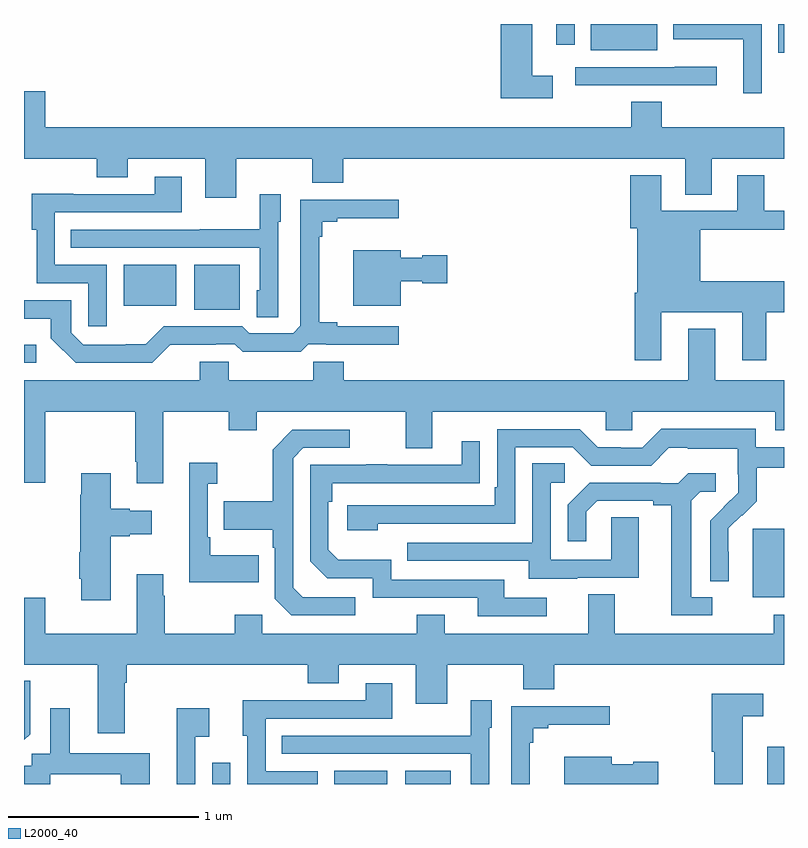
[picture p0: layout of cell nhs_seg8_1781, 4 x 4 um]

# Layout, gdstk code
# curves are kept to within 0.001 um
import gdstk
lib = gdstk.Library(unit=1e-6, precision=1e-09)
def R(c, l, rs):  # rectangles x0, y0, x1, y1
    for r in rs: c.add(gdstk.rectangle(r[:2], r[2:], *l))
def P(c, l, *ps):  # polygons
    for p in ps: c.add(gdstk.Polygon(p, *l))
L2000_40 = (2000, 40)

nhs_seg8_1781 = lib.new_cell('nhs_seg8_1781')
R(nhs_seg8_1781, L2000_40, [(225.99,1087.9,226.086,1088.011), (226.634,1087.9,226.912,1087.969), (227.006,1087.9,227.245,1087.969), (228.912,1087.9,229,1088.095), (228.836,1088.882,229,1089.243), (225,1090.116,225.064,1090.213), (225.896,1090.397,226.135,1090.633), (225.524,1090.418,225.802,1090.633), (228.971,1091.75,229,1091.9), (227.983,1091.762,228.333,1091.9), (227.802,1091.79,227.898,1091.9)])
P(nhs_seg8_1781, L2000_40, [(228.882,1091.9),(228.418,1091.9),(228.418,1091.819),(228.785,1091.819),(228.785,1091.535),(228.882,1091.535)],
  [(227.782,1091.627),(227.674,1091.627),(227.674,1091.9),(227.51,1091.9),(227.51,1091.51),(227.782,1091.51)],
  [(228.646,1091.674),(228.426,1091.674),(228.426,1091.673),(227.901,1091.673),(227.901,1091.577),(228.646,1091.577)],
  [(226.117,1091.192),(226.517,1091.192),(226.517,1091.064),(226.681,1091.064),(226.681,1091.192),(228.479,1091.192),(228.479,1091.002),(228.619,1091.002),(228.619,1091.192),(229,1091.192),(229,1091.356),(228.356,1091.356),(228.356,1091.492),(228.196,1091.492),(228.196,1091.356),(225.112,1091.356),(225.112,1091.545),(225,1091.545),(225,1091.192),(225.383,1091.192),(225.383,1091.093),(225.547,1091.093),(225.547,1091.192),(225.953,1091.192),(225.953,1090.986),(226.117,1090.986)],
  [(228.355,1090.382),(228.779,1090.382),(228.779,1090.131),(228.907,1090.131),(228.907,1090.382),(229,1090.382),(229,1090.546),(228.559,1090.546),(228.559,1090.816),(229,1090.816),(229,1090.917),(228.895,1090.917),(228.895,1091.104),(228.755,1091.104),(228.755,1090.917),(228.355,1090.917),(228.355,1091.104),(228.191,1091.104),(228.191,1090.824),(228.227,1090.824),(228.227,1090.486),(228.215,1090.486),(228.215,1090.131),(228.355,1090.131)],
  [(225.435,1090.632),(225.162,1090.632),(225.162,1090.908),(225.829,1090.908),(225.829,1091.095),(225.689,1091.095),(225.689,1091.004),(225.259,1091.004),(225.259,1091.006),(225.041,1091.006),(225.041,1090.818),(225.066,1090.818),(225.066,1090.536),(225.339,1090.536),(225.339,1090.308),(225.435,1090.308)],
  [(226.338,1090.86),(226.351,1090.86),(226.351,1091.005),(226.242,1091.005),(226.242,1090.819),(225.925,1090.819),(225.925,1090.818),(225.247,1090.818),(225.247,1090.722),(226.242,1090.722),(226.242,1090.5),(226.226,1090.5),(226.226,1090.357),(226.338,1090.357)],
  [(225.77,1090.211),(226.01,1090.211),(226.01,1090.215),(226.11,1090.215),(226.15,1090.176),(226.457,1090.176),(226.497,1090.215),(226.591,1090.215),(226.591,1090.211),(226.972,1090.211),(226.972,1090.308),(226.648,1090.308),(226.648,1090.331),(226.553,1090.331),(226.553,1090.781),(226.571,1090.781),(226.571,1090.858),(226.648,1090.858),(226.648,1090.877),(226.972,1090.877),(226.972,1090.974),(226.455,1090.974),(226.455,1090.311),(226.416,1090.272),(226.185,1090.272),(226.149,1090.308),(225.735,1090.308),(225.641,1090.214),(225.536,1090.214),(225.536,1090.212),(225.312,1090.212),(225.249,1090.275),(225.249,1090.446),(225,1090.446),(225,1090.349),(225.142,1090.349),(225.142,1090.247),(225.272,1090.116),(225.675,1090.116)],
  [(226.984,1090.547),(227.097,1090.547),(227.097,1090.535),(227.227,1090.535),(227.227,1090.682),(227.097,1090.682),(227.097,1090.669),(226.984,1090.669),(226.984,1090.708),(226.733,1090.708),(226.733,1090.418),(226.984,1090.418)],
  [(225.733,1089.86),(226.078,1089.86),(226.078,1089.761),(226.225,1089.761),(226.225,1089.86),(227.009,1089.86),(227.009,1089.666),(227.149,1089.666),(227.149,1089.86),(228.063,1089.86),(228.063,1089.762),(228.201,1089.762),(228.201,1089.86),(228.953,1089.86),(228.953,1089.761),(229,1089.761),(229,1090.024),(228.637,1090.024),(228.637,1090.297),(228.497,1090.297),(228.497,1090.024),(226.682,1090.024),(226.682,1090.122),(226.522,1090.122),(226.522,1090.024),(226.077,1090.024),(226.077,1090.122),(225.926,1090.122),(225.926,1090.024),(225,1090.024),(225,1089.486),(225.112,1089.486),(225.112,1089.86),(225.586,1089.86),(225.586,1089.595),(225.593,1089.595),(225.593,1089.483),(225.733,1089.483)],
  [(228.708,1089.122),(228.707,1089.245),(228.777,1089.315),(228.78,1089.312),(228.857,1089.389),(228.857,1089.564),(229,1089.564),(229,1089.672),(228.852,1089.672),(228.852,1089.769),(228.355,1089.769),(228.255,1089.669),(228.14,1089.669),(228.14,1089.672),(228.021,1089.672),(227.925,1089.768),(227.49,1089.768),(227.49,1089.463),(227.477,1089.463),(227.477,1089.366),(226.701,1089.366),(226.701,1089.236),(226.862,1089.236),(226.862,1089.27),(227.586,1089.27),(227.586,1089.672),(227.889,1089.672),(227.985,1089.576),(228.3,1089.576),(228.393,1089.669),(228.493,1089.669),(228.493,1089.665),(228.756,1089.665),(228.756,1089.531),(228.758,1089.531),(228.758,1089.434),(228.612,1089.286),(228.612,1088.968),(228.708,1088.968)],
  [(226.744,1088.883),(226.467,1088.883),(226.416,1088.934),(226.416,1089.615),(226.47,1089.669),(226.714,1089.669),(226.714,1089.765),(226.413,1089.765),(226.308,1089.659),(226.308,1089.387),(226.051,1089.387),(226.051,1089.239),(226.308,1089.239),(226.308,1089.143),(226.32,1089.143),(226.32,1088.874),(226.407,1088.787),(226.744,1088.787)],
  [(227.752,1088.88),(227.527,1088.88),(227.527,1088.976),(226.932,1088.976),(226.932,1089.079),(226.655,1089.079),(226.602,1089.132),(226.602,1089.386),(226.622,1089.386),(226.622,1089.483),(227.399,1089.484),(227.399,1089.703),(227.303,1089.703),(227.303,1089.579),(226.913,1089.579),(226.913,1089.584),(226.801,1089.584),(226.801,1089.579),(226.506,1089.579),(226.506,1089.072),(226.596,1088.982),(226.836,1088.982),(226.836,1088.88),(227.387,1088.88),(227.387,1088.784),(227.752,1088.784)],
  [(226.235,1089.103),(225.979,1089.103),(225.979,1089.199),(225.966,1089.199),(225.966,1089.479),(226.018,1089.479),(226.018,1089.592),(225.869,1089.592),(225.869,1088.963),(226.235,1088.963)],
  [(227.911,1088.985),(228.235,1088.985),(228.235,1089.305),(228.09,1089.305),(228.09,1089.081),(227.772,1089.081),(227.772,1089.486),(227.845,1089.486),(227.845,1089.587),(227.676,1089.587),(227.676,1089.171),(227.017,1089.171),(227.017,1089.075),(227.657,1089.075),(227.657,1088.981),(227.911,1088.981)],
  [(228.622,1088.883),(228.511,1088.883),(228.511,1089.391),(228.558,1089.438),(228.64,1089.438),(228.64,1089.535),(228.496,1089.535),(228.444,1089.483),(228.35,1089.483),(228.35,1089.486),(227.978,1089.486),(227.862,1089.37),(227.862,1089.177),(227.959,1089.177),(227.959,1089.333),(228.016,1089.39),(228.311,1089.39),(228.311,1089.368),(228.407,1089.368),(228.407,1088.787),(228.622,1088.787)],
  [(225.457,1089.203),(225.557,1089.203),(225.557,1089.215),(225.673,1089.215),(225.673,1089.337),(225.557,1089.337),(225.557,1089.35),(225.457,1089.35),(225.457,1089.535),(225.302,1089.535),(225.302,1089.422),(225.295,1089.422),(225.295,1089.119),(225.29,1089.119),(225.29,1088.98),(225.302,1088.98),(225.302,1088.868),(225.457,1088.868)],
  [(229,1088.791),(228.946,1088.791),(228.946,1088.692),(228.109,1088.692),(228.109,1088.9),(227.969,1088.9),(227.969,1088.692),(227.215,1088.692),(227.215,1088.791),(227.068,1088.791),(227.068,1088.692),(226.254,1088.692),(226.254,1088.791),(226.108,1088.791),(226.108,1088.692),(225.741,1088.692),(225.741,1088.891),(225.733,1088.891),(225.733,1089.004),(225.593,1089.004),(225.593,1088.692),(225.112,1088.692),(225.112,1088.881),(225,1088.881),(225,1088.528),(225.389,1088.528),(225.389,1088.166),(225.529,1088.166),(225.529,1088.432),(225.542,1088.432),(225.542,1088.528),(226.493,1088.528),(226.493,1088.429),(226.657,1088.429),(226.657,1088.528),(227.063,1088.528),(227.063,1088.322),(227.227,1088.322),(227.227,1088.528),(227.627,1088.528),(227.627,1088.4),(227.791,1088.4),(227.791,1088.528),(229,1088.528)],
  [(225.033,1088.163),(225.033,1088.443),(225,1088.443),(225,1088.132),(225.001,1088.132)],
  [(226.545,1087.968),(226.272,1087.968),(226.272,1088.244),(226.939,1088.244),(226.939,1088.431),(226.799,1088.431),(226.799,1088.34),(226.369,1088.34),(226.369,1088.342),(226.151,1088.342),(226.151,1088.154),(226.176,1088.154),(226.176,1087.9),(226.545,1087.9)],
  [(228.784,1088.257),(228.892,1088.257),(228.892,1088.374),(228.62,1088.374),(228.62,1088.07),(228.632,1088.07),(228.632,1087.9),(228.784,1087.9)],
  [(227.448,1088.196),(227.461,1088.196),(227.461,1088.341),(227.352,1088.341),(227.352,1088.155),(227.035,1088.155),(227.035,1088.154),(226.357,1088.154),(226.357,1088.058),(227.352,1088.058),(227.352,1087.9),(227.448,1087.9)],
  [(227.663,1088.117),(227.681,1088.117),(227.681,1088.194),(227.758,1088.194),(227.758,1088.213),(228.082,1088.213),(228.082,1088.31),(227.565,1088.31),(227.565,1087.9),(227.663,1087.9)],
  [(225.9,1088.15),(225.976,1088.15),(225.976,1088.299),(225.803,1088.299),(225.803,1087.9),(225.9,1087.9)],
  [(225.138,1087.952),(225.509,1087.952),(225.509,1087.9),(225.661,1087.9),(225.661,1088.062),(225.241,1088.062),(225.241,1088.299),(225.137,1088.299),(225.137,1088.06),(225.042,1088.06),(225.042,1087.996),(225,1087.996),(225,1087.9),(225.138,1087.9)],
  [(228.337,1088.018),(228.207,1088.018),(228.207,1088.005),(228.094,1088.005),(228.094,1088.044),(227.843,1088.044),(227.843,1087.9),(228.337,1087.9)])

lib.write_gds('nhs_seg8_1781.gds')
